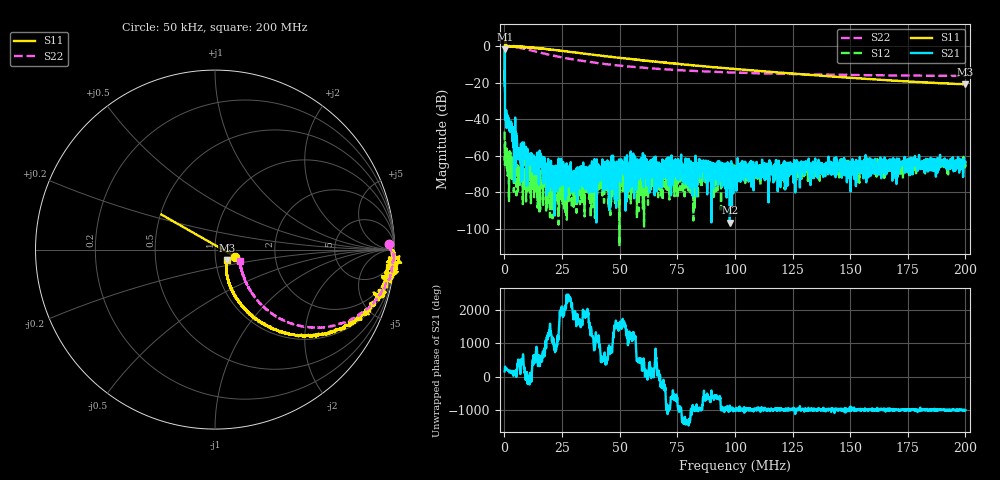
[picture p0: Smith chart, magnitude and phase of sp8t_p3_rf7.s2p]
! 26-Feb-26 11:46:19 AM
! E:\VNA_MEASUREMENTS\SP8T\SP8T_P3_RF7.S2P
! CHANNEL.1
! TR.MEASUREMENT
! CORRECTED.DATA
# GHZ S RI R 50.0
! FREQ.GHZ  S11RE  S11IM  S21RE  S21IM  S12RE  S12IM  S22RE  S22IM
!; PortSelection: Port_12
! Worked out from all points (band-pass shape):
!   2000 points, 50 kHz to 200 MHz, reference 50 ohm
!   highest |S21| = -1.58 dB at 150 kHz (marker M1); lowest = -96.9 dB at 97.77 MHz (marker M2)
!   |S21| within 3 dB of the highest: 135.1 kHz to 157.8 kHz (22.69 kHz wide, 15.5 % of centre)
!   lowest |S11| = -20.9 dB at 199.9 MHz (marker M3), VSWR 1.20, Z = 56.7 - j6.92 ohm
!   |S11| at or under -10 dB: start of sweep to 139.1 kHz; 77.84499 MHz to 77.92403 MHz (79.04 kHz wide, 0.101 % of centre); 78.19 MHz to end of sweep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
!   |S22| runs from -16.4 to 0.0 dB; largest |S21 - S12| = 0.83
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5e-05  0.1131 -0.0395  -0.0759 0.033  -0.00404 0.00209  0.9691 0.0298
0.000150025  -0.298 0.1947  -0.7732 -0.3119  9.39e-05 -0.000549  0.9835 -0.0163
0.0012503  0.9836 -0.0191  -0.0097 -0.00266  0.000772 0.00012  0.9933 -0.0883
0.006451601  0.944 -0.2208  -0.000409 0.000684  0.000234 0.000373  0.8412 -0.3381
0.02105525  0.649 -0.4636  -1.02e-05 -0.000517  -0.000159 -9.53e-05  0.3876 -0.3964
0.03345835  0.4302 -0.4739  -0.00018 -3.66e-05  -6.92e-05 8.36e-05  0.2561 -0.3053
0.04486121  0.2977 -0.4325  -0.000591 -0.000169  -0.000192 9.78e-05  0.2068 -0.2419
0.04666166  0.2825 -0.4226  0.000398 -7e-07  -0.000162 -8.9e-06  0.2002 -0.2349
0.04856213  0.2661 -0.4148  -2.4e-05 0.000168  -3.38e-05 0.000105  0.197 -0.2266
0.05066266  0.254 -0.4011  0.000726 0.000307  -0.000133 0.000114  0.1915 -0.2197
0.06676668  0.1644 -0.3329  -0.000297 0.000358  -0.000145 -3.1e-05  0.1682 -0.171
0.07626906  0.1374 -0.2956  -0.000125 0.000296  -5.69e-05 9.71e-05  0.1591 -0.1522
0.08147036  0.1186 -0.2759  -0.000101 1.98e-05  -0.000141 0.000207  0.1566 -0.1427
0.08537134  0.1151 -0.2618  -0.000261 0.000309  8.56e-05 0.000217  0.1542 -0.1359
0.08887221  0.1069 -0.2512  0.00016 0.000475  -0.000175 0.000605  0.1523 -0.1313
0.09777444  0.0955 -0.2258  -1.27e-05 -6.7e-06  1.28e-05 0.000334  0.1494 -0.12
0.100075  0.0908 -0.2202  -0.000145 0.000355  -0.00021 0.000444  0.1484 -0.1177
0.1034759  0.0871 -0.2094  0.000332 0.000443  0.000168 0.000346  0.1477 -0.1142
0.1333833  0.0677 -0.1469  -4.2e-06 0.000263  -2.24e-05 0.000568  0.1429 -0.0907
0.1666917  0.063 -0.0975  0.000198 0.00073  0.000102 0.000579  0.1404 -0.0746
0.1999  0.0666 -0.0606  0.000369 0.000509  0.000232 0.000432  0.1385 -0.0635
0.2  0.0671 -0.0606  0.000231 0.000629  0.000206 0.000632  0.1385 -0.0635
